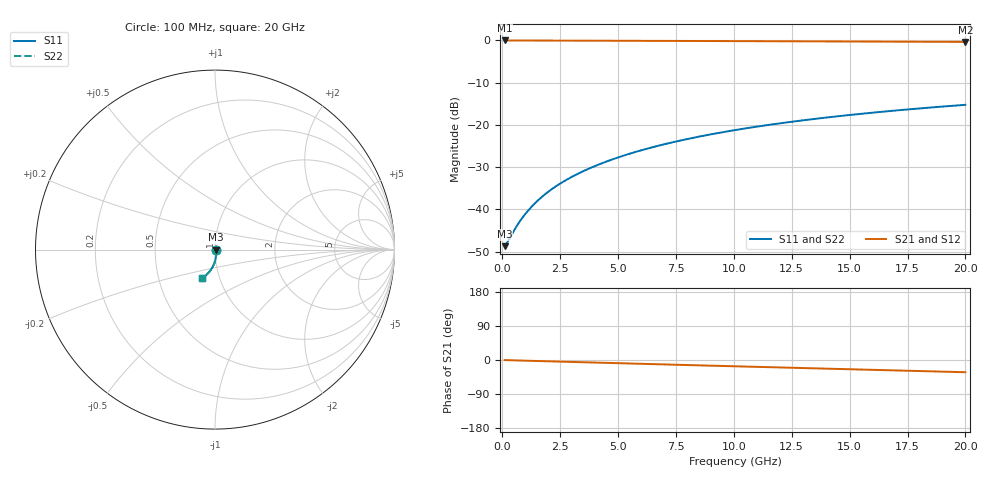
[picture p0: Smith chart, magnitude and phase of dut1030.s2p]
! Touchstone file exported from HFSS 2026.1.0
!  File:  C:/ffzhzh/LocalFiles/Ansys_Project_Files/temp_train_BSMRDL_1030_1783173589_55132.aedt
!  Generated:  10:00:54 PM Jul  4, 2026
!  Design:  BSMRDL
!  Project:  temp_train_BSMRDL_1030_1783173589_55132
! Variables:
!  h_bsmrdl = 4.82um
!  h_ox = 20um
!  h_rdl = 5um
!  h_sub = 80um
!  h_tmrdl = 5um
!  h_tsv = 80um
!  h_via = 3um
!  l_bsmrdl = 551.26um
!  l_sub = 951.26um
!  l_tmrdl = 200um
!  m_sub = 200um
!  pitch = 13.36um
!  r_tsv = 6um
!  s_tmrdl = 10um
!  w_bsmrdl = 11.49um
!  w_sub = 500um
!  w_tmrdl = 12um
!  x_tsv_center1 = 206um
!  x_tsv_center2 = 768.75um
!  x_tsv_center3 = 980.75um
!  x_tsv_center4 = 1543.5um
!  x_tsv_center5 = 1755.5um
!  x_tsv_center6 = 2318.25um
# GHz S MA R 50.000000
! Terminal data exported
! Port[1] = BSM_RDL1_1_T1
! Port[2] = BSM_RDL1_1_T2
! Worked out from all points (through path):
!   200 points, 100 MHz to 20 GHz, reference 50 ohm
!   highest |S21| = -0.03 dB at 100 MHz (marker M1); lowest = -0.4 dB at 20 GHz (marker M2)
!   group delay of S21, straight-line fit = 4.45 ps
!   lowest |S11| = -48.7 dB at 100 MHz (marker M3), VSWR 1.01, Z = 50.4 - j0.0221 ohm
!   |S11| at or under -10 dB: start of sweep to end of sweep
!   |S22| runs from -48.7 to -15.3 dB; largest |S21 - S12| = 2.8e-15
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0.1  0.003671 -3.4  0.9963 -0.2  0.9963 -0.2  0.003671 -3.4
! Gamma 0 0 0 0
! Port Impedance 50 0 50 0
0.2  0.004007 -8.2  0.996 -0.4  0.996 -0.4  0.004007 -8.2
0.6  0.006209 -32.5  0.9947 -1.1  0.9947 -1.1  0.006209 -32.5
0.8  0.007504 -42.1  0.9943 -1.4  0.9943 -1.4  0.007503 -42.1
1.1  0.00957 -52.3  0.9939 -1.9  0.9939 -1.9  0.009569 -52.3
1.3  0.01101 -57.3  0.9936 -2.3  0.9936 -2.3  0.01101 -57.3
1.5  0.01248 -61.1  0.9934 -2.6  0.9934 -2.6  0.01248 -61.1
1.9  0.01551 -66.8  0.993 -3.3  0.993 -3.3  0.0155 -66.8
2.4  0.01941 -71.6  0.9924 -4.1  0.9924 -4.1  0.0194 -71.6
2.9  0.02342 -75.0  0.9917 -5.0  0.9917 -5.0  0.02341 -75.0
3.5  0.02835 -78.0  0.9909 -6.0  0.9909 -6.0  0.02834 -78.0
4.2  0.03425 -80.7  0.9897 -7.2  0.9897 -7.2  0.03424 -80.8
5  0.04116 -83.3  0.9884 -8.5  0.9884 -8.5  0.04115 -83.3
5.9  0.0491 -85.8  0.9868 -9.9  0.9868 -9.9  0.04908 -85.8
6.8  0.05717 -88.0  0.9851 -11.4  0.9851 -11.4  0.05715 -88.1
8.4  0.07169 -91.7  0.9821 -14.0  0.9821 -14.0  0.07166 -91.8
10.1  0.08717 -95.4  0.9788 -16.7  0.9788 -16.7  0.08713 -95.4
11.7  0.1016 -98.6  0.9757 -19.3  0.9757 -19.3  0.1016 -98.7
13.4  0.1168 -101.9  0.9723 -21.9  0.9723 -21.9  0.1168 -102.1
15  0.1309 -104.9  0.969 -24.5  0.969 -24.5  0.1308 -105.1
16.7  0.1454 -108.0  0.9654 -27.1  0.9654 -27.1  0.1453 -108.2
20  0.1726 -113.8  0.958 -32.2  0.958 -32.2  0.1725 -114.0
